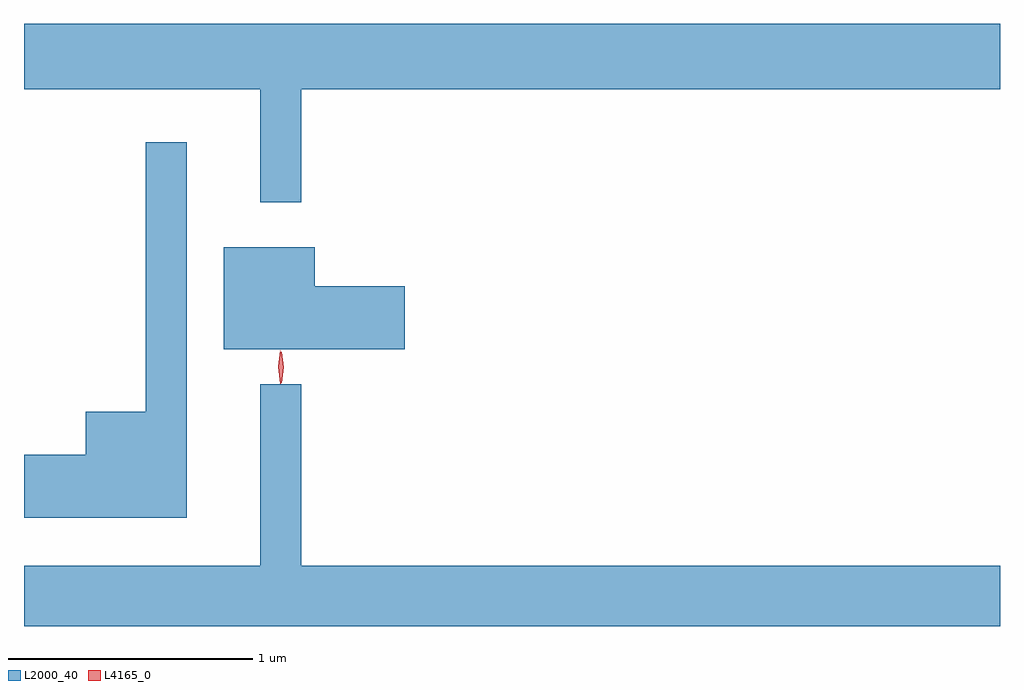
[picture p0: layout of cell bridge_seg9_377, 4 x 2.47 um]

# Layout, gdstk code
import gdstk
lib = gdstk.Library(unit=1e-6, precision=1e-09)
def P(c, l, *ps):  # polygons
    for p in ps: c.add(gdstk.Polygon(p, *l))
L2000_40 = (2000, 40)
L4165_0 = (4165, 0)

bridge_seg9_377 = lib.new_cell('bridge_seg9_377')
P(bridge_seg9_377, L2000_40, [(998.729,1965.176),(1001.593,1965.176),(1001.593,1965.444),(997.593,1965.444),(997.593,1965.176),(998.561,1965.176),(998.561,1964.713),(998.729,1964.713)],
  [(998.259,1964.958),(998.091,1964.958),(998.091,1963.854),(997.846,1963.854),(997.846,1963.679),(997.593,1963.679),(997.593,1963.421),(998.259,1963.421)],
  [(999.154,1964.369),(998.784,1964.369),(998.784,1964.529),(998.411,1964.529),(998.411,1964.111),(999.154,1964.111)],
  [(1001.593,1963.224),(998.729,1963.224),(998.729,1963.968),(998.561,1963.968),(998.561,1963.224),(997.593,1963.224),(997.593,1962.976),(1001.593,1962.976)])
P(bridge_seg9_377, L4165_0, [(998.644,1963.97),(998.634,1964.038),(998.643,1964.106),(998.644,1964.106),(998.644,1964.106),(998.654,1964.038),(998.645,1963.97),(998.645,1963.97)],
  [(998.648,1963.973),(998.648,1963.973),(998.638,1964.036),(998.648,1964.099),(998.648,1964.1),(998.649,1964.099),(998.658,1964.036),(998.649,1963.973)])

lib.write_gds('bridge_seg9_377.gds')
